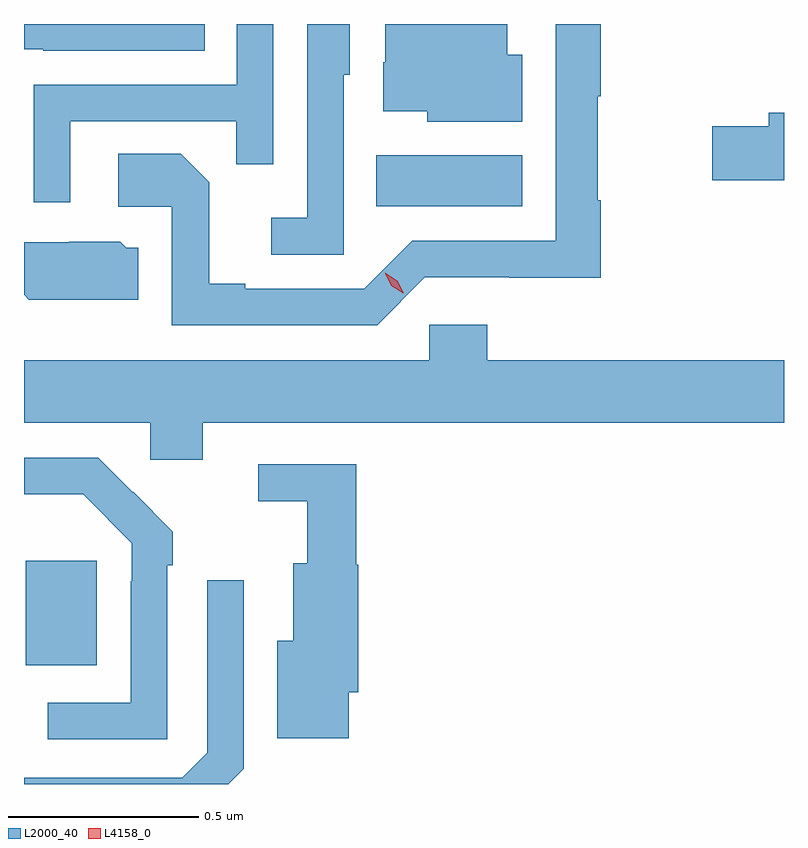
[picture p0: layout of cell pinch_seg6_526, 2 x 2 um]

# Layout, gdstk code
import gdstk
lib = gdstk.Library(unit=1e-6, precision=1e-09)
def R(c, l, rs):  # rectangles x0, y0, x1, y1
    for r in rs: c.add(gdstk.rectangle(r[:2], r[2:], *l))
def P(c, l, *ps):  # polygons
    for p in ps: c.add(gdstk.Polygon(p, *l))
L2000_40 = (2000, 40)
L4158_0 = (4158, 0)

pinch_seg6_526 = lib.new_cell('pinch_seg6_526')
R(pinch_seg6_526, L2000_40, [(770.477,933.377,770.665,933.652), (771.4,934.586,771.784,934.72)])
P(pinch_seg6_526, L2000_40, [(771.315,934.932),(771.33,934.932),(771.33,935.065),(771.219,935.065),(771.219,934.555),(771.123,934.555),(771.123,934.458),(771.315,934.458)],
  [(770.948,935.065),(770.473,935.065),(770.473,934.998),(770.524,934.998),(770.524,934.995),(770.948,934.995)],
  [(771.528,934.398),(771.75,934.398),(771.75,934.397),(771.991,934.397),(771.991,934.601),(771.983,934.601),(771.983,934.875),(771.991,934.875),(771.991,935.065),(771.872,935.065),(771.872,934.494),(771.495,934.494),(771.369,934.368),(771.055,934.368),(771.055,934.381),(770.961,934.381),(770.961,934.648),(770.885,934.724),(770.721,934.724),(770.721,934.584),(770.862,934.584),(770.862,934.272),(771.402,934.272)],
  [(771.784,934.984),(771.745,934.984),(771.745,935.065),(771.423,935.065),(771.423,934.964),(771.419,934.964),(771.419,934.835),(771.534,934.835),(771.534,934.808),(771.784,934.808)],
  [(770.595,934.809),(771.031,934.809),(771.031,934.696),(771.129,934.696),(771.129,935.065),(771.033,935.065),(771.033,934.905),(770.499,934.905),(770.499,934.596),(770.595,934.596)],
  [(772.473,934.832),(772.433,934.832),(772.433,934.796),(772.284,934.796),(772.284,934.654),(772.473,934.654)],
  [(770.773,934.476),(770.742,934.476),(770.726,934.492),(770.592,934.492),(770.592,934.491),(770.473,934.491),(770.473,934.352),(770.485,934.34),(770.773,934.34)],
  [(770.944,934.016),(772.473,934.016),(772.473,934.18),(771.692,934.18),(771.692,934.273),(771.54,934.273),(771.54,934.18),(770.473,934.18),(770.473,934.016),(770.805,934.016),(770.805,933.918),(770.944,933.918)],
  [(770.85,933.641),(770.865,933.641),(770.865,933.729),(770.76,933.834),(770.759,933.833),(770.668,933.924),(770.473,933.924),(770.473,933.828),(770.629,933.828),(770.757,933.699),(770.757,933.599),(770.754,933.599),(770.754,933.279),(770.535,933.279),(770.535,933.183),(770.85,933.183)],
  [(771.328,933.306),(771.353,933.306),(771.353,933.642),(771.347,933.642),(771.347,933.906),(771.09,933.906),(771.09,933.809),(771.219,933.809),(771.219,933.646),(771.182,933.646),(771.182,933.442),(771.14,933.442),(771.14,933.185),(771.328,933.185)],
  [(771.051,933.105),(771.051,933.601),(770.955,933.601),(770.955,933.147),(770.889,933.081),(770.473,933.081),(770.473,933.065),(771.011,933.065)])
P(pinch_seg6_526, L4158_0, [(771.471,934.356),(771.44,934.376),(771.424,934.409),(771.424,934.41),(771.424,934.41),(771.455,934.39),(771.472,934.356),(771.472,934.356)])

lib.write_gds('pinch_seg6_526.gds')
